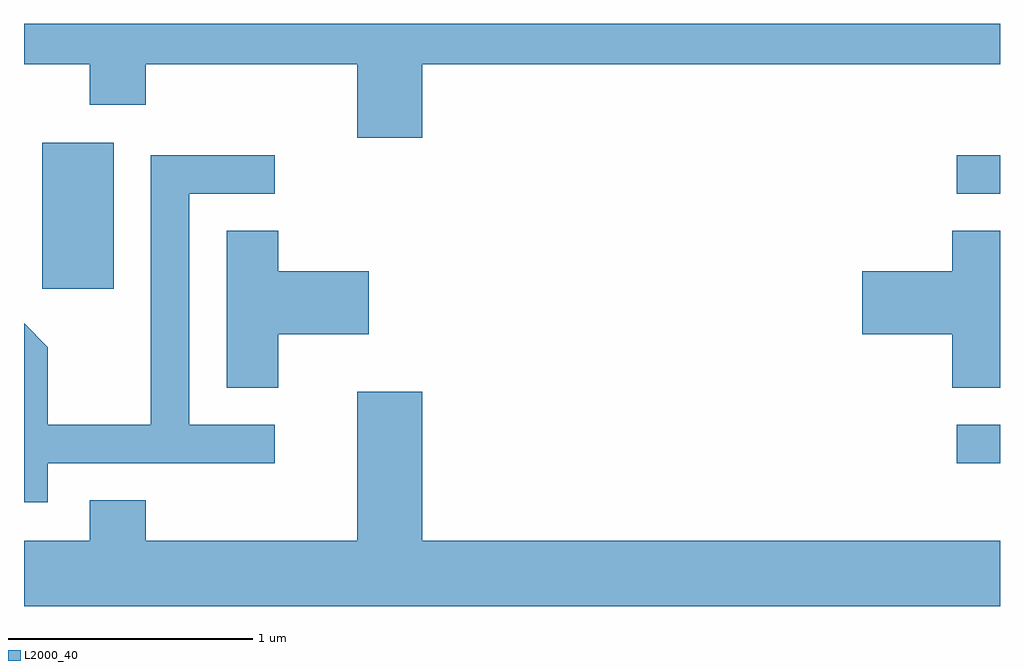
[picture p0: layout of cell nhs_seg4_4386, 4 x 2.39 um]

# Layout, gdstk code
import gdstk
lib = gdstk.Library(unit=1e-6, precision=1e-09)
def R(c, l, rs):  # rectangles x0, y0, x1, y1
    for r in rs: c.add(gdstk.rectangle(r[:2], r[2:], *l))
def P(c, l, *ps):  # polygons
    for p in ps: c.add(gdstk.Polygon(p, *l))
L2000_40 = (2000, 40)

nhs_seg4_4386 = lib.new_cell('nhs_seg4_4386')
R(nhs_seg4_4386, L2000_40, [(317.433,1324.181,317.611,1324.339), (313.686,1324.896,313.979,1325.494), (317.433,1325.286,317.611,1325.444)])
P(nhs_seg4_4386, L2000_40, [(315.244,1325.816),(317.611,1325.816),(317.611,1325.982),(313.611,1325.982),(313.611,1325.816),(313.881,1325.816),(313.881,1325.651),(314.109,1325.651),(314.109,1325.816),(314.976,1325.816),(314.976,1325.516),(315.244,1325.516)],
  [(313.709,1324.181),(314.638,1324.181),(314.638,1324.339),(314.289,1324.339),(314.289,1325.286),(314.638,1325.286),(314.638,1325.444),(314.131,1325.444),(314.131,1324.339),(313.709,1324.339),(313.709,1324.657),(313.611,1324.755),(313.611,1324.021),(313.709,1324.021)],
  [(314.654,1324.711),(315.024,1324.711),(315.024,1324.969),(314.654,1324.969),(314.654,1325.134),(314.441,1325.134),(314.441,1324.491),(314.654,1324.491)],
  [(317.611,1325.134),(317.416,1325.134),(317.416,1324.969),(317.046,1324.969),(317.046,1324.711),(317.416,1324.711),(317.416,1324.491),(317.611,1324.491)],
  [(317.611,1323.864),(315.244,1323.864),(315.244,1324.474),(314.976,1324.474),(314.976,1323.864),(314.109,1323.864),(314.109,1324.029),(313.881,1324.029),(313.881,1323.864),(313.611,1323.864),(313.611,1323.596),(317.611,1323.596)])

lib.write_gds('nhs_seg4_4386.gds')
